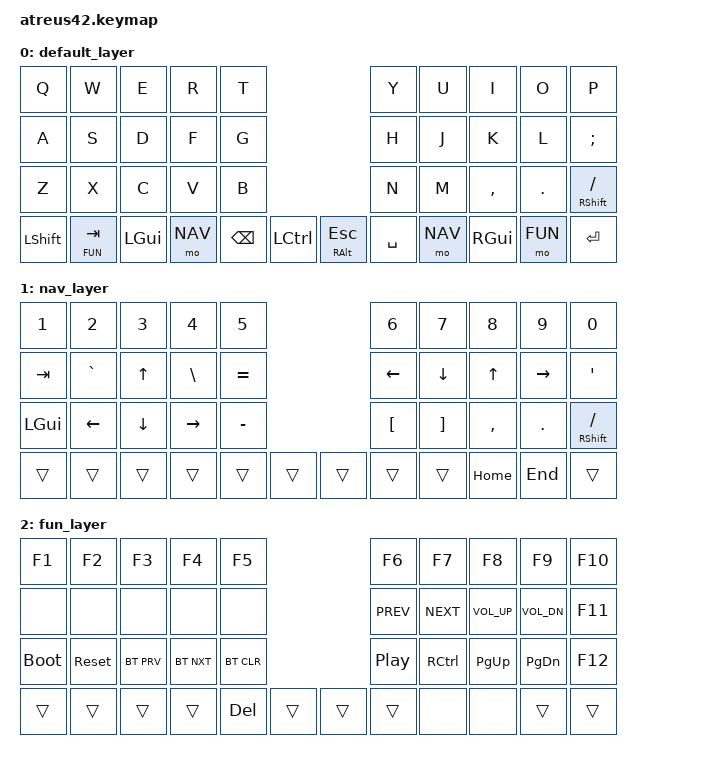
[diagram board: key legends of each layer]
/*
 * Copyright (c) 2023 The ZMK Contributors
 *
 * SPDX-License-Identifier: MIT
 */

#include <behaviors.dtsi>
#include <dt-bindings/zmk/keys.h>
#include <dt-bindings/zmk/bt.h>
#include <dt-bindings/zmk/outputs.h>

#define DEFAULT 0
#define NAV    1
#define FUN    2

/ {
    keymap {
        compatible = "zmk,keymap";

        default_layer {
            // -------------------------------------------------------------------------------------------------------------------------------------------------
            // |     Q     |     W     |     E     |     R     |     T     |                       |     Y     |    U      |     I     |     O     |     P     |
            // |     A     |     S     |     D     |     F     |     G     |                       |     H     |    J      |     K     |     L     |     ;     |
            // |     Z     |     X     |     C     |     V     |     B     |                       |     N     |    M      |     ,     |     .     |  SHIFT(/) |
            // |   LSHFT   | LAY2(TAB) |   SUPER   |   LAY1    |    BSPC   |    CTL    |  ALT(ESC) |   SPACE   |   LAY1    |   SUPER   |   LAY2    |    ENT    |
            bindings = <
                &kp Q       &kp W       &kp E       &kp R       &kp T                               &kp Y       &kp U       &kp I       &kp O       &kp P
                &kp A       &kp S       &kp D       &kp F       &kp G                               &kp H       &kp J       &kp K       &kp L       &kp SEMI
                &kp Z       &kp X       &kp C       &kp V       &kp B                               &kp N       &kp M       &kp COMMA   &kp DOT     &mt RSHFT FSLH
                &kp LSHFT   &lt FUN TAB &kp LGUI    &mo NAV     &kp BSPC    &kp LCTRL  &mt RALT ESC &kp SPACE   &mo NAV     &kp RGUI    &mo FUN     &kp RET
            >;
        };

        nav_layer {
            // -------------------------------------------------------------------------------------------------------------------------------------------------
            // |     1     |    2      |    3      |     4     |    5      |                       |    6      |    7      |     8     |     9     |     0     |
            // |    TAB    |    `      |    UP     |     \     |    =/+    |                       |   LEFT    |   DOWN    |    UP     |   RIGHT   |     '     |
            // |   SUPER   |   LEFT    |   DOWN    |   RIGHT   |    -/_    |                       |     [     |     ]     |     ,     |     .     |  SHIFT(/) |
            // |___________|___________|___________|___________|___________|___________|___________|___________|___________|   HOME    |    END    |    ENT    |
            bindings = <
                &kp N1      &kp N2      &kp N3      &kp N4      &kp N5                              &kp N6      &kp N7      &kp N8      &kp N9      &kp N0
                &kp TAB     &kp GRAVE   &kp UP      &kp BSLH    &kp EQUAL                           &kp LEFT    &kp DOWN    &kp UP      &kp RIGHT   &kp SQT
                &kp LGUI    &kp LEFT    &kp DOWN    &kp RIGHT   &kp MINUS                           &kp LBKT    &kp RBKT    &kp COMMA   &kp DOT     &mt RSHFT FSLH
                &trans      &trans      &trans      &trans      &trans      &trans       &trans     &trans      &trans      &kp HOME    &kp END     &trans
            >;
        };

        fun_layer {
            // -------------------------------------------------------------------------------------------------------------------------------------------------
            // |    F1     |    F2     |    F3     |    F4     |    F5     |                       |    F6     |    F7     |    F8     |    F9     |    F10    |
            // |           |           |           |           |           |                       |   PREV    |   NEXT    |  VOL_UP   |  VOL_DN   |    F11    |
            // |BOOTLOADER |   RESET   |  BT_PRV   |  BT_NXT   |  BT_CLR   |                       |PLAY/PAUSE |    CTL    |   PG_UP   |   PG_DN   |    F12    |
            // |___________|___________|___________|___________|    DEL    |___________|___________|___________|           |           |___________|    ENT    |
            bindings = <
                &kp F1      &kp F2      &kp F3      &kp F4      &kp F5                              &kp F6      &kp F7      &kp F8      &kp F9      &kp F10
                &none       &none       &none       &none       &none                               &kp C_PREV &kp C_NEXT &kp C_VOL_UP &kp C_VOL_DN &kp F11
                &bootloader &sys_reset  &bt BT_PRV  &bt BT_NXT  &bt BT_CLR                          &kp C_PP    &kp RCTRL   &kp PG_UP   &kp PG_DN   &kp F12
                &trans      &trans      &trans      &trans      &kp DEL     &trans       &trans     &trans      &none       &none       &trans      &trans
            >;
        };
    };
};
